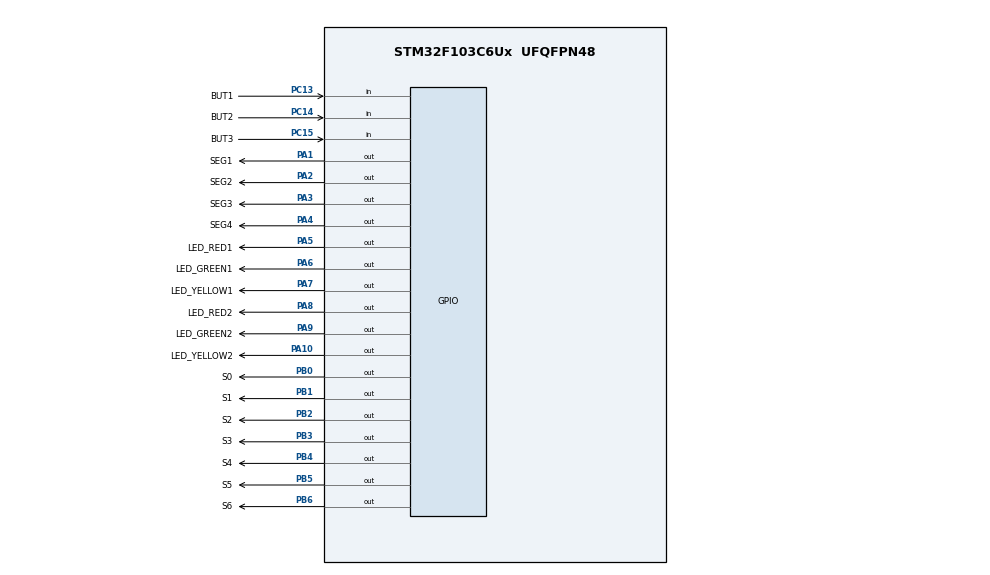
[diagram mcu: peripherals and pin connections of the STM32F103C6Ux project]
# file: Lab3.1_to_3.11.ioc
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Mcu.Family=STM32F1
Mcu.Name=STM32F103C6Ux
Mcu.Package=UFQFPN48
NVIC.PriorityGroup=NVIC_PRIORITYGROUP_4
NVIC.TIM2_IRQn=true\:0\:0\:false\:false\:true\:true\:true
PA1.GPIO_Label=SEG1
PA1.Signal=GPIO_Output
PA10.GPIO_Label=LED_YELLOW2
PA10.Signal=GPIO_Output
PA2.GPIO_Label=SEG2
PA2.Signal=GPIO_Output
PA3.GPIO_Label=SEG3
PA3.Signal=GPIO_Output
PA4.GPIO_Label=SEG4
PA4.Signal=GPIO_Output
PA5.GPIO_Label=LED_RED1
PA5.Signal=GPIO_Output
PA6.GPIO_Label=LED_GREEN1
PA6.Signal=GPIO_Output
PA7.GPIO_Label=LED_YELLOW1
PA7.Signal=GPIO_Output
PA8.GPIO_Label=LED_RED2
PA8.Signal=GPIO_Output
PA9.GPIO_Label=LED_GREEN2
PA9.Signal=GPIO_Output
PB0.GPIO_Label=S0
PB0.Signal=GPIO_Output
PB1.GPIO_Label=S1
PB1.Signal=GPIO_Output
PB2.GPIO_Label=S2
PB2.Signal=GPIO_Output
PB3.GPIO_Label=S3
PB3.Signal=GPIO_Output
PB4.GPIO_Label=S4
PB4.Signal=GPIO_Output
PB5.GPIO_Label=S5
PB5.Signal=GPIO_Output
PB6.GPIO_Label=S6
PB6.Signal=GPIO_Output
PC13-TAMPER-RTC.GPIO_Label=BUT1
PC13-TAMPER-RTC.GPIO_PuPd=GPIO_PULLUP
PC13-TAMPER-RTC.Signal=GPIO_Input
PC14-OSC32_IN.GPIO_Label=BUT2
PC14-OSC32_IN.GPIO_PuPd=GPIO_PULLUP
PC14-OSC32_IN.Signal=GPIO_Input
PC15-OSC32_OUT.GPIO_Label=BUT3
PC15-OSC32_OUT.GPIO_PuPd=GPIO_PULLUP
PC15-OSC32_OUT.Signal=GPIO_Input
ProjectManager.HeapSize=0x200
ProjectManager.StackSize=0x400
ProjectManager.TargetToolchain=STM32CubeIDE
RCC.APB1Freq_Value=8000000
RCC.APB2Freq_Value=8000000
TIM2.Period=9
TIM2.Prescaler=7999
VP_SYS_VS_ND.Mode=No_Debug
VP_TIM2_VS_ClockSourceINT.Mode=Internal
board=custom

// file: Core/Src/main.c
/* USER CODE BEGIN Header */
/**
  ******************************************************************************
  * @file           : main.c
  * @brief          : Main program body
  ******************************************************************************
  * @attention
  *
  * <h2><center>&copy; Copyright (c) 2022 STMicroelectronics.
  * All rights reserved.</center></h2>
  *
  * This software component is licensed by ST under BSD 3-Clause license,
  * the "License"; You may not use this file except in compliance with the
  * License. You may obtain a copy of the License at:
  *                        opensource.org/licenses/BSD-3-Clause
  *
  ******************************************************************************
  */
/* USER CODE END Header */
#include "main.h"

/* USER CODE BEGIN Includes */
#include "global.h"
#include "FSM.h"
#include "FSM_man.h"
#include "button.h"
/* USER CODE END Includes */

TIM_HandleTypeDef htim2;

void SystemClock_Config(void);
static void MX_GPIO_Init(void);
static void MX_TIM2_Init(void);

int main(void)
{

  /* MCU Configuration--------------------------------------------------------*/

  /* Reset of all peripherals, Initializes the Flash interface and the Systick. */
  HAL_Init();

  /* Configure the system clock */
  SystemClock_Config();

  /* Initialize all configured peripherals */
  MX_GPIO_Init();
  MX_TIM2_Init();
  /* USER CODE BEGIN 2 */
  HAL_TIM_Base_Start_IT(&htim2);
  /* USER CODE END 2 */

  /* Infinite loop */
  /* USER CODE BEGIN WHILE */
  status1 = INIT1;
  status2 = INIT2;
  while (1)
  {
	  FSM_man_run();
	  FSM1_run();
	  FSM2_run();

    /* USER CODE END WHILE */

  }
}

void SystemClock_Config(void)
{
  RCC_OscInitTypeDef RCC_OscInitStruct = {0};
  RCC_ClkInitTypeDef RCC_ClkInitStruct = {0};

  /** Initializes the RCC Oscillators according to the specified parameters
  * in the RCC_OscInitTypeDef structure.
  */
  RCC_OscInitStruct.OscillatorType = RCC_OSCILLATORTYPE_HSI;
  RCC_OscInitStruct.HSIState = RCC_HSI_ON;
  RCC_OscInitStruct.HSICalibrationValue = RCC_HSICALIBRATION_DEFAULT;
  RCC_OscInitStruct.PLL.PLLState = RCC_PLL_NONE;
  if (HAL_RCC_OscConfig(&RCC_OscInitStruct) != HAL_OK)
  {
    Error_Handler();
  }
  /** Initializes the CPU, AHB and APB buses clocks
  */
  RCC_ClkInitStruct.ClockType = RCC_CLOCKTYPE_HCLK|RCC_CLOCKTYPE_SYSCLK
                              |RCC_CLOCKTYPE_PCLK1|RCC_CLOCKTYPE_PCLK2;
  RCC_ClkInitStruct.SYSCLKSource = RCC_SYSCLKSOURCE_HSI;
  RCC_ClkInitStruct.AHBCLKDivider = RCC_SYSCLK_DIV1;
  RCC_ClkInitStruct.APB1CLKDivider = RCC_HCLK_DIV1;
  RCC_ClkInitStruct.APB2CLKDivider = RCC_HCLK_DIV1;

  if (HAL_RCC_ClockConfig(&RCC_ClkInitStruct, FLASH_LATENCY_0) != HAL_OK)
  {
    Error_Handler();
  }
}

static void MX_TIM2_Init(void)
{

  TIM_ClockConfigTypeDef sClockSourceConfig = {0};
  TIM_MasterConfigTypeDef sMasterConfig = {0};

  htim2.Instance = TIM2;
  htim2.Init.Prescaler = 7999;
  htim2.Init.CounterMode = TIM_COUNTERMODE_UP;
  htim2.Init.Period = 9;
  htim2.Init.ClockDivision = TIM_CLOCKDIVISION_DIV1;
  htim2.Init.AutoReloadPreload = TIM_AUTORELOAD_PRELOAD_DISABLE;
  if (HAL_TIM_Base_Init(&htim2) != HAL_OK)
  {
    Error_Handler();
  }
  sClockSourceConfig.ClockSource = TIM_CLOCKSOURCE_INTERNAL;
  if (HAL_TIM_ConfigClockSource(&htim2, &sClockSourceConfig) != HAL_OK)
  {
    Error_Handler();
  }
  sMasterConfig.MasterOutputTrigger = TIM_TRGO_RESET;
  sMasterConfig.MasterSlaveMode = TIM_MASTERSLAVEMODE_DISABLE;
  if (HAL_TIMEx_MasterConfigSynchronization(&htim2, &sMasterConfig) != HAL_OK)
  {
    Error_Handler();
  }

}

static void MX_GPIO_Init(void)
{
  GPIO_InitTypeDef GPIO_InitStruct = {0};

  /* GPIO Ports Clock Enable */
  __HAL_RCC_GPIOC_CLK_ENABLE();
  __HAL_RCC_GPIOA_CLK_ENABLE();
  __HAL_RCC_GPIOB_CLK_ENABLE();

  /*Configure GPIO pin Output Level */
  HAL_GPIO_WritePin(GPIOA, SEG1_Pin|SEG2_Pin|SEG3_Pin|SEG4_Pin
                          |LED_RED1_Pin|LED_GREEN1_Pin|LED_YELLOW1_Pin|LED_RED2_Pin
                          |LED_GREEN2_Pin|LED_YELLOW2_Pin, GPIO_PIN_RESET);

  /*Configure GPIO pin Output Level */
  HAL_GPIO_WritePin(GPIOB, S0_Pin|S1_Pin|S2_Pin|S3_Pin
                          |S4_Pin|S5_Pin|S6_Pin, GPIO_PIN_RESET);

  /*Configure GPIO pins : BUT1_Pin BUT2_Pin BUT3_Pin */
  GPIO_InitStruct.Pin = BUT1_Pin|BUT2_Pin|BUT3_Pin;
  GPIO_InitStruct.Mode = GPIO_MODE_INPUT;
  GPIO_InitStruct.Pull = GPIO_PULLUP;
  HAL_GPIO_Init(GPIOC, &GPIO_InitStruct);

  /*Configure GPIO pins : SEG1_Pin SEG2_Pin SEG3_Pin SEG4_Pin
                           LED_RED1_Pin LED_GREEN1_Pin LED_YELLOW1_Pin LED_RED2_Pin
                           LED_GREEN2_Pin LED_YELLOW2_Pin */
  GPIO_InitStruct.Pin = SEG1_Pin|SEG2_Pin|SEG3_Pin|SEG4_Pin
                          |LED_RED1_Pin|LED_GREEN1_Pin|LED_YELLOW1_Pin|LED_RED2_Pin
                          |LED_GREEN2_Pin|LED_YELLOW2_Pin;
  GPIO_InitStruct.Mode = GPIO_MODE_OUTPUT_PP;
  GPIO_InitStruct.Pull = GPIO_NOPULL;
  GPIO_InitStruct.Speed = GPIO_SPEED_FREQ_LOW;
  HAL_GPIO_Init(GPIOA, &GPIO_InitStruct);

  /*Configure GPIO pins : S0_Pin S1_Pin S2_Pin S3_Pin
                           S4_Pin S5_Pin S6_Pin */
  GPIO_InitStruct.Pin = S0_Pin|S1_Pin|S2_Pin|S3_Pin
                          |S4_Pin|S5_Pin|S6_Pin;
  GPIO_InitStruct.Mode = GPIO_MODE_OUTPUT_PP;
  GPIO_InitStruct.Pull = GPIO_NOPULL;
  GPIO_InitStruct.Speed = GPIO_SPEED_FREQ_LOW;
  HAL_GPIO_Init(GPIOB, &GPIO_InitStruct);

}

/* USER CODE BEGIN 4 */
void HAL_TIM_PeriodElapsedCallback(TIM_HandleTypeDef *htim) {
	getKey1Input();
	getKey2Input();
	getKey3Input();
	timer1Run();
	timer2Run();
	timer3Run();
	timer4Run();
}
/* USER CODE END 4 */

void Error_Handler(void)
{
  __disable_irq();
  while (1)
  {
  }
}

/************************ (C) COPYRIGHT STMicroelectronics *****END OF FILE****/
